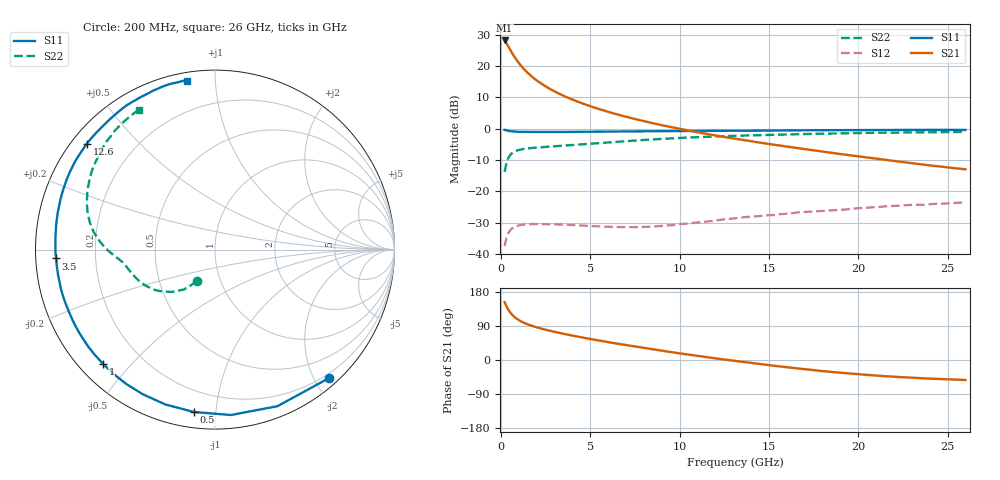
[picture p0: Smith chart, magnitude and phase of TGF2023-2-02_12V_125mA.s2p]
!Data measured by Modelithics Inc.  support@modelithics.com  813-866-6335  Tampa FL USA
!  2-Port S-parameters saved by WinCal
! VAR MeasName=S-Parameters (CALIBRATED_DATA) read from VNA (N5247A)
! VAR MeasDate=6/27/2013 3:21:21 PM
! VAR NAME=Measurement 17
! VAR FILENAME=2p5mm_task1_12p1Vds_m2p68Vgs_127mA_25C_S8.s2p
! VAR DATE=6/27/2013 3:21:21 PM
! VAR PHYS_PORTS=1,2
# Hz S RI R 50
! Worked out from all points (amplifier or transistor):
!   259 points, 200 MHz to 26 GHz, reference 50 ohm
!   highest |S21| = 28.2 dB at 200 MHz (marker M1)
!   |S21| within 3 dB of that: start of sweep to 511.1 MHz
!   unconditionally stable (mu >= 1): 5.441 GHz to 15.74 GHz
!   at 4.5 GHz: K = 0.84, MSG = 19.6 dB, |S12| = -30.9 dB
!   at 13.1 GHz: K = 1.16, MAG = 10.3 dB, |S12| = -28.7 dB
!   at 26 GHz: K = 0.73, MSG = 5.3 dB, |S12| = -23.6 dB
!   S11 on the Smith chart (normalised r, x): 200 MHz: 0.13, -2.21; 500 MHz: 0.08, -0.88; 1 GHz: 0.07, -0.42; 3.5 GHz: 0.06, -0.03; 12.6 GHz: 0.04, +0.36; 26 GHz: 0.04, +0.85
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2e8  0.634 -0.7166  -22.76 11.8  0.0058 0.0119  -0.1002 -0.1776
3e8  0.3474 -0.8726  -18.29 14.22  0.0104 0.0146  -0.1726 -0.222
4e8  0.0893 -0.9215  -14.19 15.03  0.0146 0.0154  -0.2406 -0.236
5e8  -0.1175 -0.9047  -10.91 14.78  0.0179 0.0153  -0.2912 -0.2337
6e8  -0.2774 -0.8626  -8.374 14.14  0.0206 0.0148  -0.3325 -0.2256
7e8  -0.4026 -0.8057  -6.424 13.29  0.0225 0.0139  -0.365 -0.2117
8e8  -0.4963 -0.7474  -4.964 12.41  0.024 0.0131  -0.3884 -0.1995
1e9  -0.6249 -0.6356  -2.921 10.76  0.026 0.0116  -0.4222 -0.1751
1.2e9  -0.7062 -0.5404  -1.672 9.375  0.0274 0.0103  -0.4439 -0.1539
1.4e9  -0.7589 -0.4595  -0.8377 8.23  0.0282 0.00917  -0.4601 -0.1372
1.7e9  -0.8069 -0.3631  -0.0752 6.891  0.0288 0.00795  -0.4759 -0.1165
2e9  -0.8373 -0.287  0.3919 5.878  0.0291 0.00709  -0.4883 -0.1013
2.7e9  -0.8721 -0.1545  0.9487 4.273  0.029 0.00593  -0.5094 -0.0765
3.5e9  -0.8858 -0.049  1.194 3.131  0.0288 0.00551  -0.5316 -0.0566
4.5e9  -0.8896 0.0531  1.29 2.216  0.0279 0.00546  -0.5599 -0.0344
6.3e9  -0.878 0.1947  1.245 1.233  0.026 0.00713  -0.6119 0.0114
8.8e9  -0.8379 0.3592  1.051 0.5109  0.0249 0.0119  -0.6744 0.0952
1.26e10  -0.714 0.5899  0.7281 0.00704  0.0308 0.0185  -0.7141 0.2607
1.31e10  -0.6903 0.6188  0.6892 -0.0306  0.0319 0.0186  -0.7136 0.2851
1.74e10  -0.4601 0.8238  0.4082 -0.2027  0.0438 0.018  -0.6662 0.4863
2.17e10  -0.2529 0.922  0.2275 -0.2142  0.0561 0.0134  -0.5662 0.6516
2.6e10  -0.1565 0.9408  0.1357 -0.1787  0.0657 0.0061  -0.4247 0.7782
